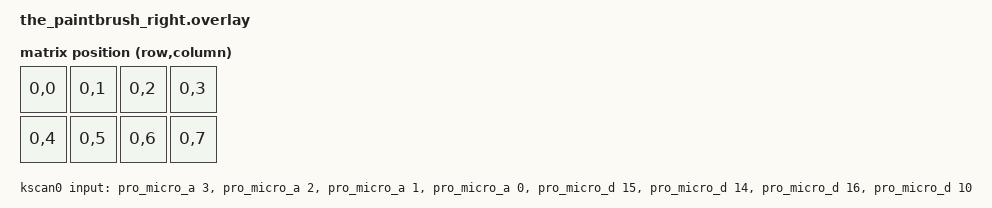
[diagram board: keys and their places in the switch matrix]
/*
 * Copyright (c) 2021 Mike "KemoNine" Crosson
 *
 * SPDX-License-Identifier: MIT
 */

#include <dt-bindings/zmk/matrix_transform.h>
#include <physical_layouts.dtsi>

/ {
	chosen {
		zmk,kscan = &kscan0;
		zmk,physical-layout = &physical_layout0;
	};

	kscan0: kscan_0 {
		compatible = "zmk,kscan-gpio-direct";

		label = "KSCAN";

		input-gpios
			= <&pro_micro_a 3 (GPIO_ACTIVE_LOW | GPIO_PULL_UP)>
			, <&pro_micro_a 2 (GPIO_ACTIVE_LOW | GPIO_PULL_UP)>
			, <&pro_micro_a 1 (GPIO_ACTIVE_LOW | GPIO_PULL_UP)>
			, <&pro_micro_a 0 (GPIO_ACTIVE_LOW | GPIO_PULL_UP)>
			, <&pro_micro_d 15 (GPIO_ACTIVE_LOW | GPIO_PULL_UP)>
			, <&pro_micro_d 14 (GPIO_ACTIVE_LOW | GPIO_PULL_UP)>
			, <&pro_micro_d 16 (GPIO_ACTIVE_LOW | GPIO_PULL_UP)>
			, <&pro_micro_d 10 (GPIO_ACTIVE_LOW | GPIO_PULL_UP)>
			;

	};

	/*
	 * kscan-gpio-direct reports every input as row 0 / column <input index>,
	 * so the transform below is a straight 1:1 map: keymap position N is the
	 * N-th entry of input-gpios above.
	 */
	default_transform: keymap_transform_0 {
		compatible = "zmk,matrix-transform";
		columns = <8>;
		rows = <1>;

		map = <
			RC(0,0) RC(0,1) RC(0,2) RC(0,3) RC(0,4) RC(0,5) RC(0,6) RC(0,7)
		>;
	};

	/*
	 * Required for ZMK Studio builds. The right half is normally built
	 * without Studio, but the layout is defined here too so both halves can
	 * be built with -DCONFIG_ZMK_STUDIO=y if needed.
	 */
	physical_layout0: physical_layout_0 {
		compatible = "zmk,physical-layout";
		display-name = "Paintbrush Right";

		transform = <&default_transform>;

		keys  //                     w   h    x    y   rot  rx  ry
			= <&key_physical_attrs 100 100   0    0   0   0   0>
			, <&key_physical_attrs 100 100 100    0   0   0   0>
			, <&key_physical_attrs 100 100 200    0   0   0   0>
			, <&key_physical_attrs 100 100 300    0   0   0   0>
			, <&key_physical_attrs 100 100   0  100   0   0   0>
			, <&key_physical_attrs 100 100 100  100   0   0   0>
			, <&key_physical_attrs 100 100 200  100   0   0   0>
			, <&key_physical_attrs 100 100 300  100   0   0   0>
			;
	};
};
